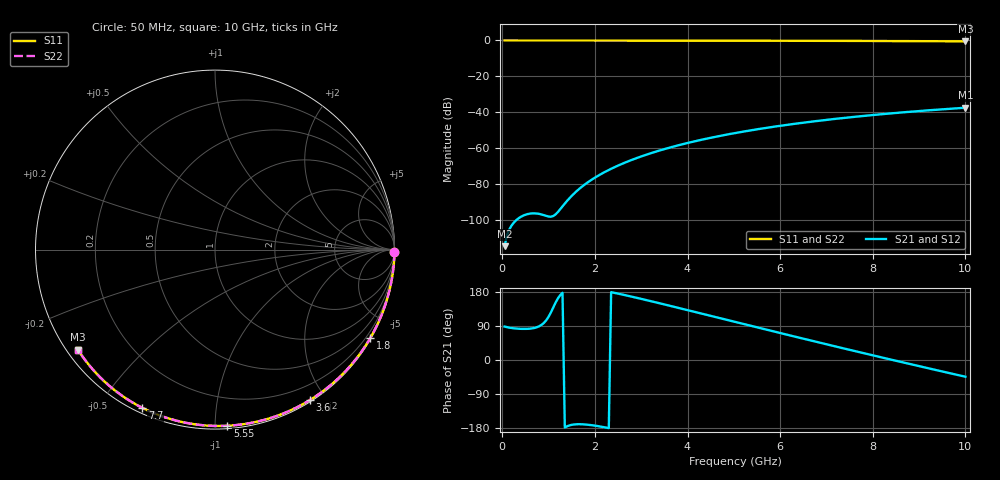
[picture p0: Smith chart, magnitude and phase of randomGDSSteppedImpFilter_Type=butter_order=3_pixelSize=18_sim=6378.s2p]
! freq	dB(S11)	phase(S11)	dB(S12)	phase(S12)
!  dB(S21)	phase(S21)	dB(S22)	phase(S22)
!S-par simulation data
#  GHz  S  DB  R 50
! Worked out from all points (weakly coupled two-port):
!   200 points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, 50 MHz to 10 GHz, reference 50 ohm
!   highest |S21| = -37.56 dB at 10 GHz (marker M1); lowest = -114.8 dB at 50 MHz (marker M2)
!   lowest |S11| = -0.5 dB at 10 GHz (marker M3), VSWR 35.77, Z = 1.55 - j16.3 ohm
!   |S11| at or under -10 dB: nowhere
!   |S22| runs from -0.5 to 0.0 dB; largest |S21 - S12| = 0
!   S11 on the Smith chart (normalised r, x): 50 MHz: open; 1.8 GHz: 0.03, -3.79; 3.6 GHz: 0.02, -1.81; 5.55 GHz: 0.02, -1.07; 7.7 GHz: 0.02, -0.64; 10 GHz: 0.03, -0.33
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0.05  -0.00 -0.8  -114.81 88.2  -114.81 88.2  -0.00 -0.8
0.45  -0.01 -7.5  -97.78 82.1  -97.78 82.1  -0.01 -7.5
0.9  -0.02 -14.9  -97.54 98.0  -97.54 98.0  -0.02 -14.9
1.3  -0.03 -21.5  -92.61 177.3  -92.61 177.3  -0.03 -21.5
1.75  -0.04 -28.8  -81.00 -169.8  -81.00 -169.8  -0.04 -28.8
1.8  -0.04 -29.6  -80.02 -170.2  -80.02 -170.2  -0.04 -29.6
1.95  -0.04 -32.0  -77.37 -172.3  -77.37 -172.3  -0.04 -32.0
2.15  -0.05 -35.2  -74.31 -176.3  -74.31 -176.3  -0.05 -35.2
2.5  -0.05 -40.7  -69.83 175.2  -69.83 175.2  -0.05 -40.7
2.9  -0.06 -47.0  -65.65 164.2  -65.65 164.2  -0.06 -47.0
3.4  -0.07 -54.7  -61.39 149.6  -61.39 149.6  -0.07 -54.7
3.6  -0.08 -57.7  -59.90 143.7  -59.90 143.7  -0.08 -57.7
3.9  -0.09 -62.2  -57.86 134.7  -57.86 134.7  -0.09 -62.2
4.3  -0.10 -68.1  -55.43 122.6  -55.43 122.6  -0.10 -68.1
5.05  -0.12 -79.0  -51.57 99.8  -51.57 99.8  -0.12 -79.0
5.55  -0.14 -86.0  -49.39 84.7  -49.39 84.7  -0.14 -86.0
6.1  -0.17 -93.5  -47.28 68.2  -47.28 68.2  -0.17 -93.5
6.7  -0.20 -101.6  -45.25 50.3  -45.25 50.3  -0.20 -101.6
7.7  -0.26 -114.7  -42.38 21.0  -42.38 21.0  -0.26 -114.7
8.35  -0.32 -123.0  -40.80 2.3  -40.80 2.3  -0.32 -123.0
9.2  -0.40 -133.8  -39.00 -21.8  -39.00 -21.8  -0.40 -133.8
10  -0.49 -143.9  -37.56 -44.2  -37.56 -44.2  -0.49 -143.9
